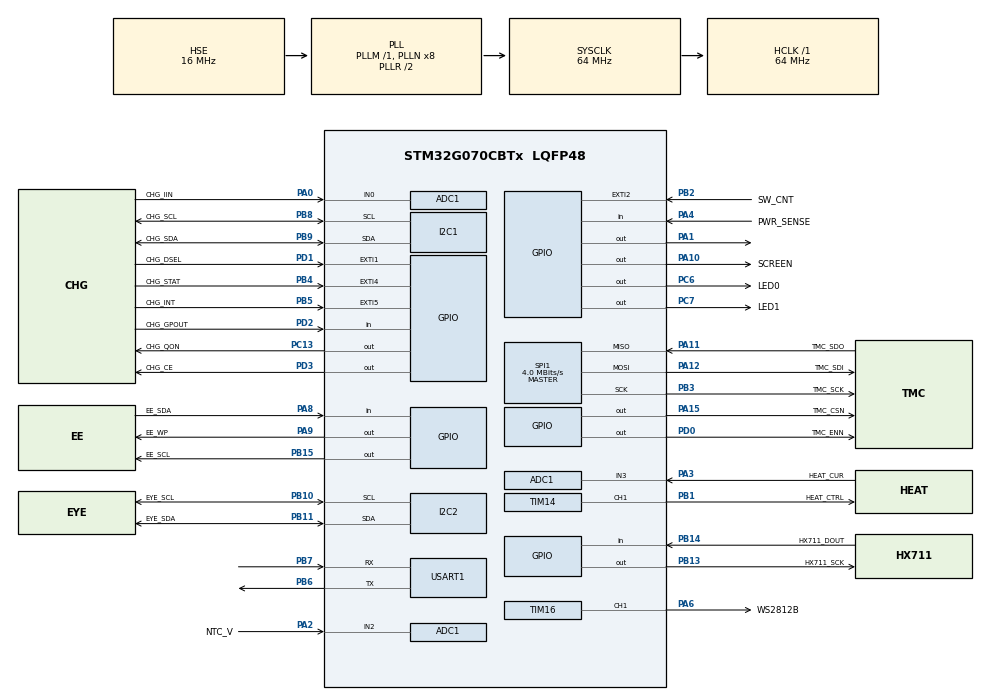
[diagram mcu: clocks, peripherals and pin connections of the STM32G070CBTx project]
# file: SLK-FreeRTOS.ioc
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ADC1.Channel-0\#ChannelRegularConversion=ADC_CHANNEL_0
ADC1.Channel-1\#ChannelRegularConversion=ADC_CHANNEL_2
ADC1.Channel-2\#ChannelRegularConversion=ADC_CHANNEL_3
ADC1.ClockPrescaler=ADC_CLOCK_ASYNC_DIV32
ADC1.ContinuousConvMode=ENABLE
ADC1.DMAContinuousRequests=ENABLE
ADC1.EOCSelection=ADC_EOC_SEQ_CONV
ADC1.NbrOfConversion=3
ADC1.NbrOfConversionFlag=1
ADC1.Overrun=ADC_OVR_DATA_OVERWRITTEN
ADC1.OversamplingMode=ENABLE
ADC1.Rank-0\#ChannelRegularConversion=1
ADC1.Rank-1\#ChannelRegularConversion=2
ADC1.Rank-2\#ChannelRegularConversion=3
ADC1.Ratio=ADC_OVERSAMPLING_RATIO_256
ADC1.Resolution=ADC_RESOLUTION_12B
ADC1.RightBitShift=ADC_RIGHTBITSHIFT_4
ADC1.SamplingTime-0\#ChannelRegularConversion=ADC_SAMPLINGTIME_COMMON_1
ADC1.SamplingTime-1\#ChannelRegularConversion=ADC_SAMPLINGTIME_COMMON_1
ADC1.SamplingTime-2\#ChannelRegularConversion=ADC_SAMPLINGTIME_COMMON_1
ADC1.SelectedChannel=ADC_CHANNEL_0|ADC_CHANNEL_2|ADC_CHANNEL_3
ADC1.master=1
Dma.ADC1.2.Direction=DMA_PERIPH_TO_MEMORY
Dma.ADC1.2.EventEnable=DISABLE
Dma.ADC1.2.Instance=DMA1_Channel5
Dma.ADC1.2.MemDataAlignment=DMA_MDATAALIGN_HALFWORD
Dma.ADC1.2.MemInc=DMA_MINC_ENABLE
Dma.ADC1.2.Mode=DMA_CIRCULAR
Dma.ADC1.2.PeriphDataAlignment=DMA_PDATAALIGN_HALFWORD
Dma.ADC1.2.PeriphInc=DMA_PINC_DISABLE
Dma.ADC1.2.Polarity=HAL_DMAMUX_REQ_GEN_RISING
Dma.ADC1.2.Priority=DMA_PRIORITY_LOW
Dma.ADC1.2.RequestNumber=1
Dma.ADC1.2.SignalID=NONE
Dma.ADC1.2.SyncEnable=DISABLE
Dma.ADC1.2.SyncPolarity=HAL_DMAMUX_SYNC_NO_EVENT
Dma.ADC1.2.SyncRequestNumber=1
Dma.ADC1.2.SyncSignalID=NONE
Dma.I2C1_RX.5.Direction=DMA_PERIPH_TO_MEMORY
Dma.I2C1_RX.5.EventEnable=DISABLE
Dma.I2C1_RX.5.Instance=DMA1_Channel1
Dma.I2C1_RX.5.MemDataAlignment=DMA_MDATAALIGN_BYTE
Dma.I2C1_RX.5.MemInc=DMA_MINC_ENABLE
Dma.I2C1_RX.5.Mode=DMA_NORMAL
Dma.I2C1_RX.5.PeriphDataAlignment=DMA_PDATAALIGN_BYTE
Dma.I2C1_RX.5.PeriphInc=DMA_PINC_DISABLE
Dma.I2C1_RX.5.Polarity=HAL_DMAMUX_REQ_GEN_RISING
Dma.I2C1_RX.5.Priority=DMA_PRIORITY_LOW
Dma.I2C1_RX.5.RequestNumber=1
Dma.I2C1_RX.5.SignalID=NONE
Dma.I2C1_RX.5.SyncEnable=DISABLE
Dma.I2C1_RX.5.SyncPolarity=HAL_DMAMUX_SYNC_NO_EVENT
Dma.I2C1_RX.5.SyncRequestNumber=1
Dma.I2C1_RX.5.SyncSignalID=NONE
Dma.I2C1_TX.6.Direction=DMA_MEMORY_TO_PERIPH
Dma.I2C1_TX.6.EventEnable=DISABLE
Dma.I2C1_TX.6.Instance=DMA1_Channel2
Dma.I2C1_TX.6.MemDataAlignment=DMA_MDATAALIGN_BYTE
Dma.I2C1_TX.6.MemInc=DMA_MINC_ENABLE
Dma.I2C1_TX.6.Mode=DMA_NORMAL
Dma.I2C1_TX.6.PeriphDataAlignment=DMA_PDATAALIGN_BYTE
Dma.I2C1_TX.6.PeriphInc=DMA_PINC_DISABLE
Dma.I2C1_TX.6.Polarity=HAL_DMAMUX_REQ_GEN_RISING
Dma.I2C1_TX.6.Priority=DMA_PRIORITY_LOW
Dma.I2C1_TX.6.RequestNumber=1
Dma.I2C1_TX.6.SignalID=NONE
Dma.I2C1_TX.6.SyncEnable=DISABLE
Dma.I2C1_TX.6.SyncPolarity=HAL_DMAMUX_SYNC_NO_EVENT
Dma.I2C1_TX.6.SyncRequestNumber=1
Dma.I2C1_TX.6.SyncSignalID=NONE
Dma.I2C2_RX.0.Direction=DMA_PERIPH_TO_MEMORY
Dma.I2C2_RX.0.EventEnable=DISABLE
Dma.I2C2_RX.0.Instance=DMA1_Channel3
Dma.I2C2_RX.0.MemDataAlignment=DMA_MDATAALIGN_BYTE
Dma.I2C2_RX.0.MemInc=DMA_MINC_ENABLE
Dma.I2C2_RX.0.Mode=DMA_NORMAL
Dma.I2C2_RX.0.PeriphDataAlignment=DMA_PDATAALIGN_BYTE
Dma.I2C2_RX.0.PeriphInc=DMA_PINC_DISABLE
Dma.I2C2_RX.0.Polarity=HAL_DMAMUX_REQ_GEN_RISING
Dma.I2C2_RX.0.Priority=DMA_PRIORITY_LOW
Dma.I2C2_RX.0.RequestNumber=1
Dma.I2C2_RX.0.SignalID=NONE
Dma.I2C2_RX.0.SyncEnable=DISABLE
Dma.I2C2_RX.0.SyncPolarity=HAL_DMAMUX_SYNC_NO_EVENT
Dma.I2C2_RX.0.SyncRequestNumber=1
Dma.I2C2_RX.0.SyncSignalID=NONE
Dma.I2C2_TX.1.Direction=DMA_MEMORY_TO_PERIPH
Dma.I2C2_TX.1.EventEnable=DISABLE
Dma.I2C2_TX.1.Instance=DMA1_Channel4
Dma.I2C2_TX.1.MemDataAlignment=DMA_MDATAALIGN_BYTE
Dma.I2C2_TX.1.MemInc=DMA_MINC_ENABLE
Dma.I2C2_TX.1.Mode=DMA_NORMAL
Dma.I2C2_TX.1.PeriphDataAlignment=DMA_PDATAALIGN_BYTE
Dma.I2C2_TX.1.PeriphInc=DMA_PINC_DISABLE
Dma.I2C2_TX.1.Polarity=HAL_DMAMUX_REQ_GEN_RISING
Dma.I2C2_TX.1.Priority=DMA_PRIORITY_LOW
Dma.I2C2_TX.1.RequestNumber=1
Dma.I2C2_TX.1.SignalID=NONE
Dma.I2C2_TX.1.SyncEnable=DISABLE
Dma.I2C2_TX.1.SyncPolarity=HAL_DMAMUX_SYNC_NO_EVENT
Dma.I2C2_TX.1.SyncRequestNumber=1
Dma.I2C2_TX.1.SyncSignalID=NONE
Dma.Request0=I2C2_RX
Dma.Request1=I2C2_TX
Dma.Request2=ADC1
Dma.Request3=USART1_TX
Dma.Request4=TIM16_CH1
Dma.Request5=I2C1_RX
Dma.Request6=I2C1_TX
Dma.TIM16_CH1.4.Direction=DMA_MEMORY_TO_PERIPH
Dma.TIM16_CH1.4.EventEnable=DISABLE
Dma.TIM16_CH1.4.Instance=DMA1_Channel7
Dma.TIM16_CH1.4.MemDataAlignment=DMA_MDATAALIGN_HALFWORD
Dma.TIM16_CH1.4.MemInc=DMA_MINC_ENABLE
Dma.TIM16_CH1.4.Mode=DMA_CIRCULAR
Dma.TIM16_CH1.4.PeriphDataAlignment=DMA_PDATAALIGN_HALFWORD
Dma.TIM16_CH1.4.PeriphInc=DMA_PINC_DISABLE
Dma.TIM16_CH1.4.Polarity=HAL_DMAMUX_REQ_GEN_RISING
Dma.TIM16_CH1.4.Priority=DMA_PRIORITY_MEDIUM
Dma.TIM16_CH1.4.RequestNumber=1
Dma.TIM16_CH1.4.SignalID=NONE
Dma.TIM16_CH1.4.SyncEnable=DISABLE
Dma.TIM16_CH1.4.SyncPolarity=HAL_DMAMUX_SYNC_NO_EVENT
Dma.TIM16_CH1.4.SyncRequestNumber=1
Dma.TIM16_CH1.4.SyncSignalID=NONE
Dma.USART1_TX.3.Direction=DMA_MEMORY_TO_PERIPH
Dma.USART1_TX.3.EventEnable=DISABLE
Dma.USART1_TX.3.Instance=DMA1_Channel6
Dma.USART1_TX.3.MemDataAlignment=DMA_MDATAALIGN_BYTE
Dma.USART1_TX.3.MemInc=DMA_MINC_ENABLE
Dma.USART1_TX.3.Mode=DMA_NORMAL
Dma.USART1_TX.3.PeriphDataAlignment=DMA_PDATAALIGN_BYTE
Dma.USART1_TX.3.PeriphInc=DMA_PINC_DISABLE
Dma.USART1_TX.3.Polarity=HAL_DMAMUX_REQ_GEN_RISING
Dma.USART1_TX.3.Priority=DMA_PRIORITY_LOW
Dma.USART1_TX.3.RequestNumber=1
Dma.USART1_TX.3.SignalID=NONE
Dma.USART1_TX.3.SyncEnable=DISABLE
Dma.USART1_TX.3.SyncPolarity=HAL_DMAMUX_SYNC_NO_EVENT
Dma.USART1_TX.3.SyncRequestNumber=1
Dma.USART1_TX.3.SyncSignalID=NONE
FREERTOS.Events01=All_Event,Dynamic,NULL
FREERTOS.Queues01=dataQueue,5,uart_rx_data,0,Dynamic,NULL,NULL;Temperature_Queue,10,float,0,Dynamic,NULL,NULL;Force_Queue,10,float,0,Dynamic,NULL,NULL
FREERTOS.Tasks01=Motor_Task,24,128,AppMotor_Task,Default,NULL,Dynamic,NULL,NULL;HeatTask,24,128,APP_HeatTask,Default,NULL,Dynamic,NULL,NULL;Uart_ProcessTas,40,130,App_Uart_ProcessTask,Default,NULL,Dynamic,NULL,NULL;Charge_Task,8,128,App_Charge_Task,Default,NULL,Dynamic,NULL,NULL
I2C1.CustomTiming=Disabled
I2C1.Timing=0x10707DBC
I2C2.Timing=0x10707DBC
Mcu.Family=STM32G0
Mcu.Name=STM32G070CBTx
Mcu.Package=LQFP48
NVIC.ADC1_IRQn=true\:3\:0\:false\:false\:true\:false\:true\:true\:true
NVIC.DMA1_Ch4_7_DMAMUX1_OVR_IRQn=true\:3\:0\:false\:false\:true\:false\:false\:true\:true
NVIC.DMA1_Channel1_IRQn=true\:3\:0\:false\:false\:true\:true\:false\:true\:true
NVIC.DMA1_Channel2_3_IRQn=true\:3\:0\:false\:false\:true\:true\:false\:true\:true
NVIC.EXTI0_1_IRQn=true\:3\:0\:false\:false\:true\:true\:true\:true\:true
NVIC.EXTI2_3_IRQn=true\:3\:0\:true\:false\:true\:false\:true\:true\:true
NVIC.EXTI4_15_IRQn=true\:3\:0\:false\:false\:true\:true\:true\:true\:true
NVIC.FLASH_IRQn=true\:3\:0\:false\:false\:true\:true\:true\:true\:true
NVIC.I2C1_IRQn=true\:3\:0\:false\:false\:true\:false\:true\:true\:true
NVIC.I2C2_IRQn=true\:3\:0\:false\:false\:true\:false\:true\:true\:true
NVIC.RCC_IRQn=true\:3\:0\:false\:false\:true\:true\:true\:false\:true
NVIC.SPI1_IRQn=true\:3\:0\:false\:false\:true\:false\:true\:true\:true
NVIC.TIM14_IRQn=true\:3\:0\:false\:false\:true\:false\:true\:true\:true
NVIC.TIM16_IRQn=true\:3\:0\:false\:false\:true\:false\:true\:true\:true
NVIC.TIM6_IRQn=true\:3\:0\:false\:false\:true\:false\:true\:true\:true
NVIC.TIM7_IRQn=true\:3\:0\:true\:false\:true\:false\:true\:true\:true
NVIC.TimeBase=TIM6_IRQn
NVIC.TimeBaseIP=TIM6
NVIC.USART1_IRQn=true\:0\:0\:true\:false\:true\:false\:true\:true\:true
PA0.GPIO_Label=CHG_IIN
PA0.Mode=IN0
PA0.Signal=ADC1_IN0
PA1.Signal=GPIO_Output
PA10.GPIO_FMPA10=__NULL
PA10.GPIO_Label=SCREEN
PA10.GPIO_Speed=GPIO_SPEED_FREQ_LOW
PA10.PinState=GPIO_PIN_RESET
PA10.Signal=GPIO_Output
PA11\ [PA9].GPIO_Label=TMC_SDO
PA11\ [PA9].Mode=Full_Duplex_Master
PA11\ [PA9].Signal=SPI1_MISO
PA12\ [PA10].GPIO_Label=TMC_SDI
PA12\ [PA10].Mode=Full_Duplex_Master
PA12\ [PA10].Signal=SPI1_MOSI
PA13.Mode=Serial_Wire
PA13.Signal=SYS_SWDIO
PA14-BOOT0.Mode=Serial_Wire
PA14-BOOT0.Signal=SYS_SWCLK
PA15.GPIO_Label=TMC_CSN
PA15.PinState=GPIO_PIN_SET
PA15.Signal=GPIO_Output
PA2.GPIO_Label=NTC_V
PA2.Mode=IN2
PA2.Signal=ADC1_IN2
PA3.GPIO_Label=HEAT_CUR
PA3.Mode=IN3
PA3.Signal=ADC1_IN3
PA4.GPIO_Label=PWR_SENSE
PA4.GPIO_PuPd=GPIO_PULLDOWN
PA4.Signal=GPIO_Input
PA6.GPIO_Label=WS2812B
PA6.GPIO_Speed=GPIO_SPEED_FREQ_VERY_HIGH
PA6.Signal=S_TIM16_CH1
PA7.GPIO_Label=LED3
PA7.Signal=S_TIM17_CH1
PA8.GPIO_Label=EE_SDA
PA8.Signal=GPIO_Input
PA9.GPIO_Label=EE_WP
PA9.Signal=GPIO_Output
PB0.GPIO_Label=LED4
PB0.Signal=S_TIM3_CH3
PB1.GPIO_Label=HEAT_CTRL
PB1.Signal=S_TIM14_CH1
PB10.GPIO_Label=EYE_SCL
PB10.Mode=I2C
PB10.Signal=I2C2_SCL
PB11.GPIO_Label=EYE_SDA
PB11.Mode=I2C
PB11.Signal=I2C2_SDA
PB13.GPIO_Label=HX711_SCK
PB13.Signal=GPIO_Output
PB14.GPIO_Label=HX711_DOUT
PB14.Signal=GPIO_Input
PB15.GPIO_Label=EE_SCL
PB15.Signal=GPIO_Output
PB2.GPIO_Label=SW_CNT
PB2.GPIO_ModeDefaultEXTI=GPIO_MODE_IT_FALLING
PB2.Signal=GPXTI2
PB3.GPIO_Label=TMC_SCK
PB3.Mode=Full_Duplex_Master
PB3.Signal=SPI1_SCK
PB4.GPIO_Label=CHG_STAT
PB4.Signal=GPXTI4
PB5.GPIO_Label=CHG_INT
PB5.Signal=GPXTI5
PB6.Mode=Asynchronous
PB6.Signal=USART1_TX
PB7.Mode=Asynchronous
PB7.Signal=USART1_RX
PB8.GPIO_Label=CHG_SCL
PB8.Mode=I2C
PB8.Signal=I2C1_SCL
PB9.GPIO_Label=CHG_SDA
PB9.Mode=I2C
PB9.Signal=I2C1_SDA
PC13.GPIO_Label=CHG_QON
PC13.Signal=GPIO_Output
PC14-OSC32_IN\ (PC14).Mode=LSE-External-Oscillator
PC14-OSC32_IN\ (PC14).Signal=RCC_OSC32_IN
PC15-OSC32_OUT\ (PC15).Mode=LSE-External-Oscillator
PC15-OSC32_OUT\ (PC15).Signal=RCC_OSC32_OUT
PC6.GPIO_Label=LED0
PC6.PinState=GPIO_PIN_SET
PC6.Signal=GPIO_Output
PC7.GPIO_Label=LED1
PC7.PinState=GPIO_PIN_SET
PC7.Signal=GPIO_Output
PD0.GPIO_Label=TMC_ENN
PD0.PinState=GPIO_PIN_SET
PD0.Signal=GPIO_Output
PD1.GPIO_Label=CHG_DSEL
PD1.Signal=GPXTI1
PD2.GPIO_Label=CHG_GPOUT
PD2.Signal=GPIO_Input
PD3.GPIO_Label=CHG_CE
PD3.PinState=GPIO_PIN_SET
PD3.Signal=GPIO_Output
PF0-OSC_IN\ (PF0).Mode=HSE-External-Oscillator
PF0-OSC_IN\ (PF0).Signal=RCC_OSC_IN
PF1-OSC_OUT\ (PF1).Mode=HSE-External-Oscillator
PF1-OSC_OUT\ (PF1).Signal=RCC_OSC_OUT
ProjectManager.HeapSize=0x200
ProjectManager.StackSize=0x400
ProjectManager.TargetToolchain=MDK-ARM V5.32
RCC.ADCFreq_Value=64000000
RCC.AHBFreq_Value=64000000
RCC.CortexFreq_Value=64000000
RCC.EXTERNAL_CLOCK_VALUE=48000
RCC.HCLKFreq_Value=64000000
RCC.HSE_VALUE=16000000
RCC.HSI_VALUE=16000000
RCC.PLLSourceVirtual=RCC_PLLSOURCE_HSE
RCC.SYSCLKFreq_VALUE=64000000
RCC.SYSCLKSource=RCC_SYSCLKSOURCE_PLLCLK
RCC.VCOOutputFreq_Value=128000000
SH.S_TIM14_CH1.0=TIM14_CH1,PWM Generation1 CH1
SH.S_TIM16_CH1.0=TIM16_CH1,PWM Generation1 CH1
SH.S_TIM17_CH1.0=TIM17_CH1
SH.S_TIM3_CH3.0=TIM3_CH3
SPI1.BaudRatePrescaler=SPI_BAUDRATEPRESCALER_16
SPI1.CLKPhase=SPI_PHASE_2EDGE
SPI1.CLKPolarity=SPI_POLARITY_HIGH
SPI1.CalculateBaudRate=4.0 MBits/s
SPI1.DataSize=SPI_DATASIZE_8BIT
SPI1.Direction=SPI_DIRECTION_2LINES
SPI1.Mode=SPI_MODE_MASTER
SPI1.VirtualType=VM_MASTER
TIM14.Channel=TIM_CHANNEL_1
TIM14.Period=255
TIM14.Prescaler=63
TIM16.Channel=TIM_CHANNEL_1
TIM16.Period=160
TIM16.Pulse=0
TIM7.AutoReloadPreload=TIM_AUTORELOAD_PRELOAD_ENABLE
TIM7.Period=4999
TIM7.Prescaler=639
USART1.VirtualMode-Asynchronous=VM_ASYNC
VP_FREERTOS_VS_CMSIS_V2.Mode=CMSIS_V2
VP_SYS_VS_DBSignals.Mode=DisableDeadBatterySignals
VP_SYS_VS_tim6.Mode=TIM6
VP_TIM14_VS_ClockSourceINT.Mode=Enable_Timer
VP_TIM16_VS_ClockSourceINT.Mode=Enable_Timer
VP_TIM7_VS_ClockSourceINT.Mode=Enable_Timer
board=custom

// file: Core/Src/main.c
/* USER CODE BEGIN Header */
/**
 ******************************************************************************
 * @file           : main.c
 * @brief          : Main program body
 ******************************************************************************
 * @attention
 *
 * Copyright (c) 2024 STMicroelectronics.
 * All rights reserved.
 *
 * This software is licensed under terms that can be found in the LICENSE file
 * in the root directory of this software component.
 * If no LICENSE file comes with this software, it is provided AS-IS.
 *
 ******************************************************************************
 */
/* USER CODE END Header */
#include "main.h"
#include "cmsis_os.h"
#include "adc.h"
#include "dma.h"
#include "i2c.h"
#include "spi.h"
#include "tim.h"
#include "usart.h"
#include "gpio.h"

/* USER CODE BEGIN PV */
extern uint8_t MotorCompareState;
uint8_t counter; // 定时�????7的计数器
/* USER CODE END PV */

void SystemClock_Config(void);
void MX_FREERTOS_Init(void);

int main(void)
{

  /* MCU Configuration--------------------------------------------------------*/

  /* Reset of all peripherals, Initializes the Flash interface and the Systick. */
  HAL_Init();

  /* Configure the system clock */
  SystemClock_Config();

  /* Initialize all configured peripherals */
  MX_GPIO_Init();
  MX_DMA_Init();
  MX_ADC1_Init();
  MX_I2C1_Init();
  MX_I2C2_Init();
  MX_SPI1_Init();
  MX_USART1_UART_Init();
  MX_TIM14_Init();
  MX_TIM16_Init();
  MX_TIM7_Init();

  /* Init scheduler */
  osKernelInitialize();  /* Call init function for freertos objects (in freertos.c) */
  MX_FREERTOS_Init();

  /* Start scheduler */
  osKernelStart();

  /* We should never get here as control is now taken by the scheduler */
  /* Infinite loop */
  while (1)
  {

  }
}

void SystemClock_Config(void)
{
  RCC_OscInitTypeDef RCC_OscInitStruct = {0};
  RCC_ClkInitTypeDef RCC_ClkInitStruct = {0};

  /** Configure the main internal regulator output voltage
  */
  HAL_PWREx_ControlVoltageScaling(PWR_REGULATOR_VOLTAGE_SCALE1);

  /** Initializes the RCC Oscillators according to the specified parameters
  * in the RCC_OscInitTypeDef structure.
  */
  RCC_OscInitStruct.OscillatorType = RCC_OSCILLATORTYPE_HSE;
  RCC_OscInitStruct.HSEState = RCC_HSE_ON;
  RCC_OscInitStruct.PLL.PLLState = RCC_PLL_ON;
  RCC_OscInitStruct.PLL.PLLSource = RCC_PLLSOURCE_HSE;
  RCC_OscInitStruct.PLL.PLLM = RCC_PLLM_DIV1;
  RCC_OscInitStruct.PLL.PLLN = 8;
  RCC_OscInitStruct.PLL.PLLP = RCC_PLLP_DIV2;
  RCC_OscInitStruct.PLL.PLLR = RCC_PLLR_DIV2;
  if (HAL_RCC_OscConfig(&RCC_OscInitStruct) != HAL_OK)
  {
    Error_Handler();
  }

  /** Initializes the CPU, AHB and APB buses clocks
  */
  RCC_ClkInitStruct.ClockType = RCC_CLOCKTYPE_HCLK|RCC_CLOCKTYPE_SYSCLK
                              |RCC_CLOCKTYPE_PCLK1;
  RCC_ClkInitStruct.SYSCLKSource = RCC_SYSCLKSOURCE_PLLCLK;
  RCC_ClkInitStruct.AHBCLKDivider = RCC_SYSCLK_DIV1;
  RCC_ClkInitStruct.APB1CLKDivider = RCC_HCLK_DIV1;

  if (HAL_RCC_ClockConfig(&RCC_ClkInitStruct, FLASH_LATENCY_2) != HAL_OK)
  {
    Error_Handler();
  }
}

void HAL_TIM_PeriodElapsedCallback(TIM_HandleTypeDef *htim)
{
  if (htim->Instance == TIM6) {
    HAL_IncTick();
  }
  /* USER CODE BEGIN Callback 1 */
  if (htim == &htim7) // 50ms定时�????
  {
    // �????1ms发�?��?�知
    counter++;

    if ((counter == 10) && (MotorCompareState == 2))//等待15*50个进入保持阶�???
    {
      // 发�?�任务�?�知给任�????1
      MotorCompareState = 1;
    }
    if ((counter == 60) && (MotorCompareState == 1))
    {
      // 发�?�任务�?�知给任�????2
      MotorCompareState = 2;
      counter = 0;
    }

    // �????5ms发�?��?�知
  }
  /* USER CODE END Callback 1 */
}

void Error_Handler(void)
{
  __disable_irq();
  while (1)
  {
  }
}

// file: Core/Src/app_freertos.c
/* USER CODE BEGIN Header */
/**
 * File Name          : app_freertos.c
 * Description        : Code for freertos applications
 ******************************************************************************
 * @attention
 *
 * Copyright (c) 2024 STMicroelectronics.
 * All rights reserved.
 *
 * This software is licensed under terms that can be found in the LICENSE file
 * in the root directory of this software component.
 * If no LICENSE file comes with this software, it is provided AS-IS.
 *
 ******************************************************************************
 */
/* USER CODE END Header */

#include "FreeRTOS.h"
#include "task.h"
#include "main.h"
#include "cmsis_os.h"

/* USER CODE BEGIN Variables */
uart_data uart_rx_data;
extern int32_t ForceRawOffset;
uint8_t MotorCompareState = 0;
int32_t Force_Q;

extern int32_t ForceRawSet;
int32_t ForceRawActual;

extern TIM_HandleTypeDef htim7;

 extern BQ27441_typedef BQ27441;
  extern uint8_t PowerState;
  extern uint8_t BQ25895Reg[21];
/* USER CODE END Variables */
/* Definitions for Motor_Task */
osThreadId_t Motor_TaskHandle;
const osThreadAttr_t Motor_Task_attributes = {
  .name = "Motor_Task",
  .priority = (osPriority_t) osPriorityNormal,
  .stack_size = 128 * 4
};
/* Definitions for HeatTask */
osThreadId_t HeatTaskHandle;
const osThreadAttr_t HeatTask_attributes = {
  .name = "HeatTask",
  .priority = (osPriority_t) osPriorityNormal,
  .stack_size = 128 * 4
};
/* Definitions for Uart_ProcessTas */
osThreadId_t Uart_ProcessTasHandle;
const osThreadAttr_t Uart_ProcessTas_attributes = {
  .name = "Uart_ProcessTas",
  .priority = (osPriority_t) osPriorityHigh,
  .stack_size = 130 * 4
};
/* Definitions for Charge_Task */
osThreadId_t Charge_TaskHandle;
const osThreadAttr_t Charge_Task_attributes = {
  .name = "Charge_Task",
  .priority = (osPriority_t) osPriorityLow,
  .stack_size = 128 * 4
};
/* Definitions for dataQueue */
osMessageQueueId_t dataQueueHandle;
const osMessageQueueAttr_t dataQueue_attributes = {
  .name = "dataQueue"
};
/* Definitions for Temperature_Queue */
osMessageQueueId_t Temperature_QueueHandle;
const osMessageQueueAttr_t Temperature_Queue_attributes = {
  .name = "Temperature_Queue"
};
/* Definitions for Force_Queue */
osMessageQueueId_t Force_QueueHandle;
const osMessageQueueAttr_t Force_Queue_attributes = {
  .name = "Force_Queue"
};
/* Definitions for All_Event */
osEventFlagsId_t All_EventHandle;
const osEventFlagsAttr_t All_Event_attributes = {
  .name = "All_Event"
};

void AppMotor_Task(void *argument);
void APP_HeatTask(void *argument);
void App_Uart_ProcessTask(void *argument);
void App_Charge_Task(void *argument);

void MX_FREERTOS_Init(void); /* (MISRA C 2004 rule 8.1) */

void MX_FREERTOS_Init(void) {

  /* Create the queue(s) */
  /* creation of dataQueue */
  dataQueueHandle = osMessageQueueNew (5, sizeof(uart_rx_data), &dataQueue_attributes);

  /* creation of Temperature_Queue */
  Temperature_QueueHandle = osMessageQueueNew (10, sizeof(float), &Temperature_Queue_attributes);

  /* creation of Force_Queue */
  Force_QueueHandle = osMessageQueueNew (10, sizeof(float), &Force_Queue_attributes);

  /* Create the thread(s) */
  /* creation of Motor_Task */
  Motor_TaskHandle = osThreadNew(AppMotor_Task, NULL, &Motor_Task_attributes);

  /* creation of HeatTask */
  HeatTaskHandle = osThreadNew(APP_HeatTask, NULL, &HeatTask_attributes);

  /* creation of Uart_ProcessTas */
  Uart_ProcessTasHandle = osThreadNew(App_Uart_ProcessTask, NULL, &Uart_ProcessTas_attributes);

  /* creation of Charge_Task */
  Charge_TaskHandle = osThreadNew(App_Charge_Task, NULL, &Charge_Task_attributes);

  /* Create the event(s) */
  /* creation of All_Event */
  All_EventHandle = osEventFlagsNew(&All_Event_attributes);

}

void AppMotor_Task(void *argument)
{
  /* USER CODE BEGIN AppMotor_Task */

  EventBits_t Motor_Event_Bit;

  TMC5130_Init();
  HX711_Init();
  MotorChecking();
  for (;;)
  {

    Motor_Event_Bit = xEventGroupWaitBits(
        All_EventHandle,                     // Event group handle
        Motor_BIT_2 | Auto_BIT_3 | SW_BIT_1, // flag bits to wait for
        pdFALSE,                             // clear these bits when the function responds
        pdFALSE,                             // Whether to wait for all flag bits
        100                                  // Whether to wait indefinitely
                                             // portMAX_DELAY    // Whether to wait indefinitely
    );
    if ((((Motor_Event_Bit & Motor_BIT_2) != 0) || ((Motor_Event_Bit & Auto_BIT_3) != 0)) && ((Motor_Event_Bit & SW_BIT_1) == 0)) // 脉动或�?�自动事件发生，按钮事件没发生（电机预模式）
    {
      vTaskDelay(200);

      // printf("电机预模�????");
    }
    else if (((Motor_Event_Bit & (Motor_BIT_2 | SW_BIT_1)) == (Motor_BIT_2 | SW_BIT_1)) || (Motor_Event_Bit & (Auto_BIT_3 | SW_BIT_1)) == (Auto_BIT_3 | SW_BIT_1)) // 脉动或�?�自动事件发生，按钮事件发生（正式脉动模式启动）
    { vTaskDelay(200);
        //HAL_GPIO_TogglePin(GPIOC, GPIO_PIN_7);
      ForceRawActual = HX711_Read();
      if ((ForceRawActual >= 550000) && (MotorCompareState == 0))
      // if ( (ForceRawActual-(ForceRawOffset + ForceRawSet))>42007)
      {
        HAL_TIM_Base_Start_IT(&htim7);
        MotorCompareState = 1;
      }
      switch (MotorCompareState)
      {
      case 1:
        MotorCompare(ForceRawOffset + ForceRawSet, ForceRawActual);
        vTaskDelay(10);
        break;
      case 2:
        TMC5130_Write(0xa7, 0x8000); // 治疗阶段的回�????速度
        TMC5130_Write(0xa0, 2);
        vTaskDelay(10);
        break;
      default:
        break;
      }
      // uint8_t MotorCompareState=MotorCompare(ForceRawOffset+ForceRawSet,ForceRawActual);
      Force_Q = (ForceRawActual - ForceRawOffset < 0) ? 0 : (ForceRawActual - ForceRawOffset);
      xQueueSend(Force_QueueHandle, &Force_Q, NULL);
    }
    else if ((((Motor_Event_Bit & Motor_BIT_2) == 0) || ((Motor_Event_Bit & Auto_BIT_3) == 0)) && ((Motor_Event_Bit & SW_BIT_1) == 0)) // 脉动或�?�自动事件发生，按钮事件发生（正式脉动模式启动）
    {
      vTaskDelay(5000 );
HAL_GPIO_WritePin(TMC_ENN_GPIO_Port, TMC_ENN_Pin, GPIO_PIN_SET); // 能tmc电机引脚
    }

    // TMC5130_Write(0xa0, 1); // 设置tmc电机方向向前
    // vTaskDelay(1000);
    // TMC5130_Write(0xa0, 2);
    // vTaskDelay(1000);
  }

  /* USER CODE END AppMotor_Task */
}

void APP_HeatTask(void *argument)
{
  /* USER CODE BEGIN APP_HeatTask */
  /* Infinite loop */
  EventBits_t Heat_Event_Bit;
   // HeatPIDInit();
  for (;;)
  {
    Heat_Event_Bit = xEventGroupWaitBits(
        All_EventHandle,                    // Event group handle
        Heat_BIT_0 | Auto_BIT_3 | SW_BIT_1, // flag bits to wait for
        pdFALSE,                            // clear these bits when the function responds
        pdFALSE,                            // Whether to wait for all flag bits
        100                                 // Whether to wait indefinitely
                                            // portMAX_DELAY                      // Whether to wait indefinitely
    );
    //if ((((Heat_Event_Bit & Heat_BIT_0) || ((Heat_Event_Bit & Auto_BIT_3) != 0)) != 0) && ((Heat_Event_Bit & SW_BIT_1) == 0)) // 加热或自动事件发生，按钮事件没发生（预热模式�?????????????
    if((((Heat_Event_Bit & Heat_BIT_0) != 0)||((Heat_Event_Bit & Auto_BIT_3) != 0))&&((Heat_Event_Bit & SW_BIT_1) == 0))
    {
      // // printf("预加热模式\n");
        HAL_GPIO_TogglePin(GPIOC, GPIO_PIN_6);
      start_Heat(Temperature_QueueHandle);
      vTaskDelay(20);
    }
    else if (((Heat_Event_Bit & (Heat_BIT_0 | SW_BIT_1)) == (Heat_BIT_0 | SW_BIT_1)) || ((Heat_Event_Bit & (Auto_BIT_3 | SW_BIT_1)) == (Auto_BIT_3 | SW_BIT_1))) // 加热或�?�自动事件发生，按钮事件发生（正式加热模式�?
    {
      // printf("正式加热模式");
      start_Heat(Temperature_QueueHandle);
      vTaskDelay(200);
    }

  }

  /* USER CODE END APP_HeatTask */
}

void App_Uart_ProcessTask(void *argument)
{
  /* USER CODE BEGIN App_Uart_ProcessTask */
  /* Infinite loop */
  extern TIM_HandleTypeDef htim16;
  // HAL_TIM_Base_Start(&htim16);
  // HAL_TIM_PWM_Start(&htim16, LED_TIM_CHANNEL);
  __HAL_TIM_ENABLE_DMA(&htim16, TIM_DMA_CC1);
  // sendColor(0, 0, 25);
  // UCS1903Show();
  EventBits_t Data_Event_Bit;

  for (;;)
  {

    Data_Event_Bit = xEventGroupWaitBits(
        All_EventHandle,                                  // Event group handle
        Heat_BIT_0 | Auto_BIT_3 | Motor_BIT_2 | SW_BIT_1, // flag bits to wait for
        pdFALSE,                                          // clear these bits when the function responds
        pdFALSE,                                          // Whether to wait for all flag bits
        100                                               // Whether to wait indefinitely
                                                          // portMAX_DELAY    // Whether to wait indefinitely
    );

    if ((Data_Event_Bit & Heat_BIT_0) != 0)
    { // printf("打开热敷数据");
      ProcessTemperatureData(0x0302);
      vTaskDelay(10);
    }
    if (((Data_Event_Bit & Motor_BIT_2) != 0) && ((Data_Event_Bit & SW_BIT_1) != 0))
    { // printf("打开压力数据");
      ProcessForceData(0x0702);
      vTaskDelay(10);
    }
    if ((Data_Event_Bit & Auto_BIT_3) != 0)
    { // printf("打开自动数据");
      ProcessTemperatureData(0x0C03);
      vTaskDelay(10);
      if ((Data_Event_Bit & SW_BIT_1) != 0)
      {
        ProcessForceData(0x0C04);
        vTaskDelay(10);
      }
    }
    if (xQueueReceive(dataQueueHandle, &uart_rx_data, 100)) // 阻塞接受队列消息
    {
      // HAL_UART_Transmit(&huart1, (uint8_t *)&(uart_rx_data.buffer), uart_rx_data.length, 0xFFFF);
      processData((PCTRL_MSG)uart_rx_data.buffer); // 处理接收到的数据
    }
  }
  /* USER CODE END App_Uart_ProcessTask */
}

void App_Charge_Task(void *argument)
{
  /* USER CODE BEGIN App_Charge_Task */

    BQ25895_Init(); // 充电芯片初始�?
    BQ27441_Init();//电量芯片初始�?
    AT24CXX_Init();//非易失�?�存储芯片初始化
  /* Infinite loop */
  for(;;)
  {

    BQ25895_MultiRead(BQ25895Reg);//读取充电状态
    PowerStateUpdate();
    BQ27441_MultiRead(&BQ27441);//获取电量计数�?
    ScreenUpdateSOC(BQ27441.SOC,PowerState);//电量上传
      vTaskDelay(200);
  }
  /* USER CODE END App_Charge_Task */
}
